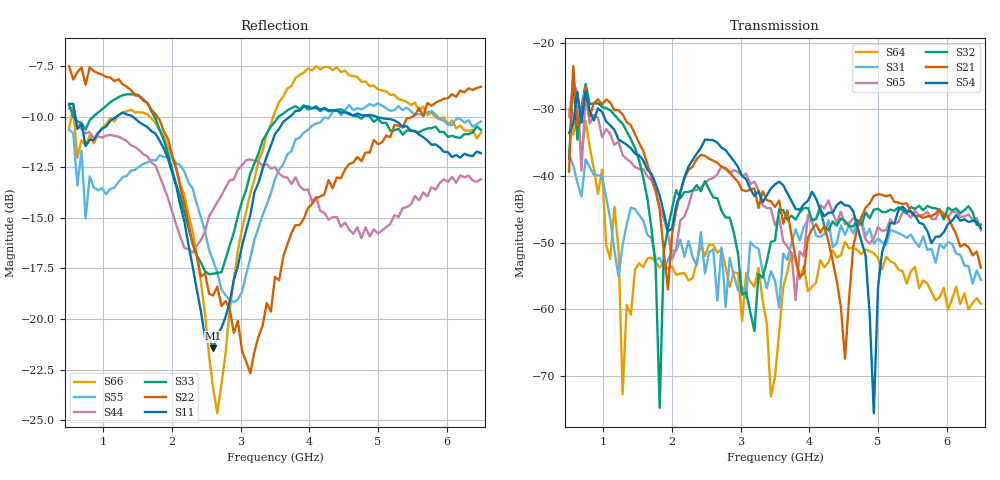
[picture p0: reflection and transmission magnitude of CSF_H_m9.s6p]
!Keysight Technologies,M9804A,MY58100912,A.14.10.03
!Date: Thursday, April 27, 2023 10:28:33
!Correction: S11(C  6-Port  )
!S12(C  6-Port  )
!S13(C  6-Port  )
!S14(C  6-Port  )
!S15(C  6-Port  )
!S16(C  6-Port  )
!S21(C  6-Port  )
!S22(C  6-Port  )
!S23(C  6-Port  )
!S24(C  6-Port  )
!S25(C  6-Port  )
!S26(C  6-Port  )
!S31(C  6-Port  )
!S32(C  6-Port  )
!S33(C  6-Port  )
!S34(C  6-Port  )
!S35(C  6-Port  )
!S36(C  6-Port  )
!S41(C  6-Port  )
!S42(C  6-Port  )
!S43(C  6-Port  )
!S44(C  6-Port  )
!S45(C  6-Port  )
!S46(C  6-Port  )
!S51(C  6-Port  )
!S52(C  6-Port  )
!S53(C  6-Port  )
!S54(C  6-Port  )
!S55(C  6-Port  )
!S56(C  6-Port  )
!S61(C  6-Port  )
!S62(C  6-Port  )
!S63(C  6-Port  )
!S64(C  6-Port  )
!S65(C  6-Port  )
!S66(C  6-Port  )
!S6P File: Measurement: :
# Hz S  RI  R 50
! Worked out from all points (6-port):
!   101 points, 500 MHz to 6.5 GHz, reference 50 ohm
!   strongest paths, dB at 500 MHz, 2 GHz, 3.5 GHz, 5 GHz, 6.5 GHz:
!     S54: -33.5, -47.8, -41.2, -56.9, -47.9
!     S21: -39.3, -48.7, -44.6, -42.7, -53.8
!     S32: -37.4, -44.8, -49.7, -44.9, -47.3
!     S65: -31.0, -52.4, -47.4, -47.6, -48.1
!     S31: -36.9, -51.1, -55.7, -49.4, -55.6
!     S64: -29.9, -53.6, -70.1, -52.3, -59.2
!   lowest |S11| = -21.4 dB at 2.6 GHz (marker M1), VSWR 1.18, Z = 42.5 + j2.21 ohm
!   |S11| at or under -10 dB: 590.8 MHz to 1.188 GHz (597.4 MHz wide, 67.2 % of centre); 1.426 GHz to 3.714 GHz (2.288 GHz wide, 89 % of centre); 4.977 GHz to end of sweep
